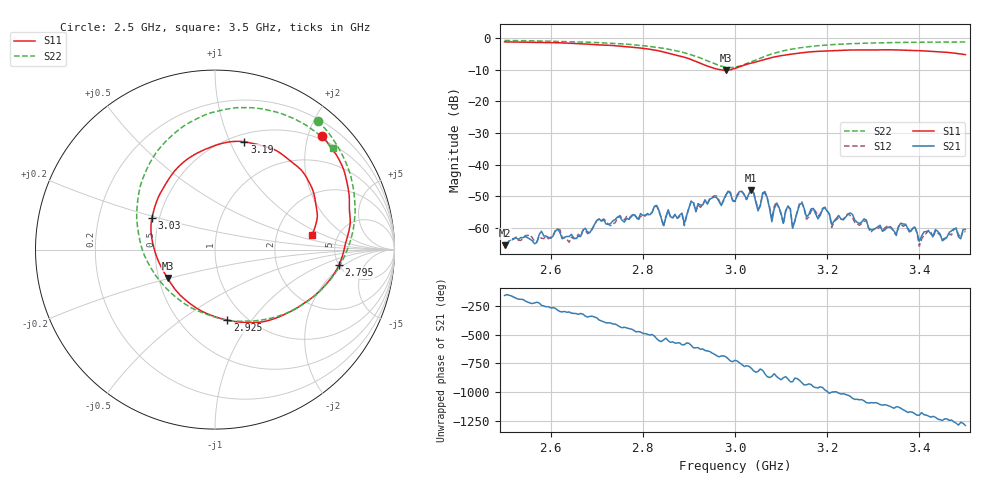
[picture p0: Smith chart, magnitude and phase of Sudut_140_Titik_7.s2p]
# Hz S RI R 50
! CMT, C1220, 16058040, 17.2.0/1
! Date: 15/08/2018 10:08:35
! Data: Format (Calibration Info)
! Freq  S11: Re/Im (F2)  S21: Re/Im (F2)  S12: Re/Im (F2)  S22: Re/Im (F2)
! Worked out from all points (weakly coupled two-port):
!   201 points, 2.5 GHz to 3.5 GHz, reference 50 ohm
!   highest |S21| = -48.05 dB at 3.035 GHz (marker M1); lowest = -65.5 dB at 2.5 GHz (marker M2)
!   lowest |S11| = -10.2 dB at 2.98 GHz (marker M3), VSWR 1.89, Z = 27.9 - j9.78 ohm
!   |S11| at or under -10 dB: 2.968 GHz to 2.99 GHz (21.83 MHz wide, 0.733 % of centre)
!   |S22| runs from -9.3 to -0.7 dB; largest |S21 - S12| = 0.00029
!   S11 on the Smith chart (normalised r, x): 2.5 GHz: 0.43, +2.25; 2.795 GHz: 5.04, -1.65; 2.925 GHz: 0.82, -0.77; 3.03 GHz: 0.46, +0.19; 3.19 GHz: 0.58, +1.13; 3.5 GHz: 3.22, +0.76
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2.5e9  0.598 0.6338  -0.000503 -0.000169  -0.000551 -0.000206  0.5729 0.7165
2.67e9  0.746 0.3163  0.00074 0.000561  0.000766 0.000497  0.7455 0.4433
2.795e9  0.6917 -0.0843  -0.000777 -0.0015  -0.000695 -0.00137  0.7621 0.077
2.835e9  0.5842 -0.2303  -0.00185 0.000406  -0.0018 0.000325  0.702 -0.0766
2.89e9  0.3075 -0.3925  -0.000773 0.000868  -0.000776 0.00076  0.5077 -0.2935
2.905e9  0.21 -0.4069  -0.00157 0.00209  -0.00168 0.00208  0.4238 -0.3418
2.925e9  0.0683 -0.3934  -8.5e-05 0.0023  -0.000173 0.00211  0.2926 -0.3863
2.98e9  -0.2642 -0.1587  0.00291 0.00157  0.00281 0.00155  -0.1373 -0.3215
3e9  -0.3315 -0.0218  0.0026 -0.000111  0.00264 -0.000281  -0.2751 -0.2124
3.03e9  -0.3518 0.1752  0.00203 -0.00275  0.00211 -0.00272  -0.4084 0.01
3.035e9  -0.3446 0.2046  0.00135 -0.00372  0.00144 -0.00368  -0.4188 0.0509
3.05e9  -0.3155 0.2922  -0.000308 -0.00183  -0.000396 -0.00196  -0.4363 0.1705
3.065e9  -0.2716 0.3709  -0.00186 -0.00327  -0.00178 -0.00311  -0.4291 0.2855
3.08e9  -0.225 0.4381  -0.00099 -0.000769  -0.00112 -0.000809  -0.4044 0.3906
3.115e9  -0.0953 0.5397  -0.00214 -0.000614  -0.00207 -0.000536  -0.2944 0.5812
3.125e9  -0.0562 0.5582  -0.000979 0.000149  -0.00101 0.000168  -0.2548 0.6219
3.14e9  0.00058 0.5804  -0.00231 -0.000172  -0.00243 -0.000123  -0.1953 0.6731
3.17e9  0.1018 0.6024  -0.00128 0.00158  -0.00136 0.0015  -0.076 0.7415
3.19e9  0.1642 0.6009  -0.00104 0.00168  -0.000925 0.00182  -0.00118 0.7674
3.335e9  0.4887 0.4336  0.000804 -0.000649  0.000785 -0.000734  0.4083 0.7429
3.4e9  0.551 0.3111  -0.000294 -0.000543  -0.000265 -0.000441  0.5258 0.6799
3.5e9  0.5415 0.0829  -0.000844 0.000421  -0.000742 0.000443  0.6573 0.564
